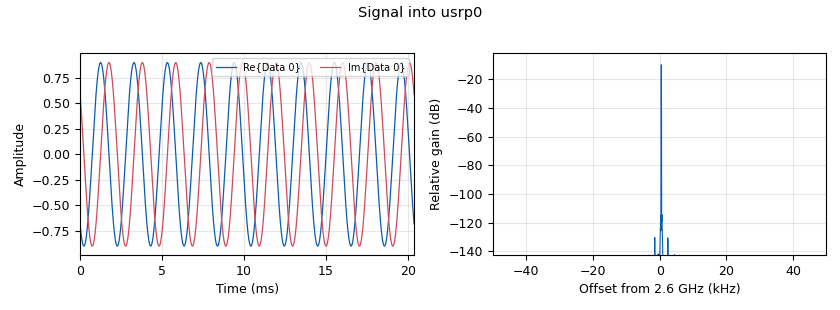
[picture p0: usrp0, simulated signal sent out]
<?xml version='1.0' encoding='utf-8'?>
<?grc format='1' created='3.7.14'?>
<flow_graph>
<block>
<key>options</key>
<param><key>id</key><value>top_block</value></param>
<param><key>author</key><value>OT</value></param>
<param><key>description</key><value>udoppler</value></param>
<param><key>generate_options</key><value>qt_gui</value></param>
<param><key>title</key><value>udoppler</value></param>
</block>
<block>
<key>variable</key>
<param><key>id</key><value>amplitude</value></param>
<param><key>value</key><value>0.9</value></param>
</block>
<block>
<key>variable</key>
<param><key>id</key><value>freq</value></param>
<param><key>value</key><value>2.6e9</value></param>
</block>
<block>
<key>variable_qtgui_range</key>
<param><key>id</key><value>gainRX</value></param>
<param><key>value</key><value>55</value></param>
<param><key>label</key><value>gainRX</value></param>
<param><key>orient</key><value>Qt.Horizontal</value></param>
<param><key>start</key><value>0</value></param>
<param><key>step</key><value>1</value></param>
<param><key>stop</key><value>70</value></param>
</block>
<block>
<key>variable_qtgui_range</key>
<param><key>id</key><value>gainTX</value></param>
<param><key>value</key><value>55</value></param>
<param><key>label</key><value>gainTX</value></param>
<param><key>orient</key><value>Qt.Horizontal</value></param>
<param><key>start</key><value>0</value></param>
<param><key>step</key><value>1</value></param>
<param><key>stop</key><value>70</value></param>
</block>
<block>
<key>variable</key>
<param><key>id</key><value>samp_rate</value></param>
<param><key>value</key><value>100e3</value></param>
</block>
<block>
<key>variable</key>
<param><key>id</key><value>usrpRX</value></param>
<param><key>value</key><value>"serial=30B0CED"</value></param>
</block>
<block>
<key>variable</key>
<param><key>id</key><value>usrpTX</value></param>
<param><key>value</key><value>"serial=30B0CED"</value></param>
</block>
<block>
<key>analog_sig_source_x</key>
<param><key>id</key><value>analog_sig_source_x_0</value></param>
<param><key>amp</key><value>amplitude</value></param>
<param><key>freq</key><value>1e6/2040</value></param>
<param><key>offset</key><value>0</value></param>
<param><key>type</key><value>complex</value></param>
<param><key>samp_rate</key><value>samp_rate</value></param>
<param><key>waveform</key><value>analog.GR_COS_WAVE</value></param>
</block>
<block>
<key>blocks_stream_to_vector</key>
<param><key>id</key><value>blocks_stream_to_vector_0</value></param>
<param><key>type</key><value>complex</value></param>
<param><key>num_items</key><value>2040</value></param>
</block>
<block>
<key>uhd_usrp_sink</key>
<param><key>id</key><value>usrp0</value></param>
<param><key>ant0</key><value>TX/RX</value></param>
<param><key>center_freq0</key><value>freq</value></param>
<param><key>norm_gain0</key><value>False</value></param>
<param><key>gain0</key><value>gainTX</value></param>
<param><key>clock_rate</key><value>0.0</value></param>
<param><key>dev_addr</key><value>usrpTX</value></param>
<param><key>dev_args</key><value>""</value></param>
<param><key>type</key><value>fc32</value></param>
<param><key>samp_rate</key><value>samp_rate</value></param>
<param><key>hide_cmd_port</key><value>True</value></param>
<param><key>hide_lo_controls</key><value>True</value></param>
<param><key>stream_chans</key><value>[0]</value></param>
<param><key>sync</key><value></value></param>
<param><key>len_tag_name</key><value></value></param>
</block>
<block>
<key>uhd_usrp_source</key>
<param><key>id</key><value>usrp1</value></param>
<param><key>ant0</key><value>RX2</value></param>
<param><key>center_freq0</key><value>freq</value></param>
<param><key>dc_offs_enb0</key><value>True</value></param>
<param><key>iq_imbal_enb0</key><value>True</value></param>
<param><key>norm_gain0</key><value>False</value></param>
<param><key>gain0</key><value>gainRX</value></param>
<param><key>clock_rate</key><value>0.0</value></param>
<param><key>dev_addr</key><value>usrpRX</value></param>
<param><key>dev_args</key><value>""</value></param>
<param><key>type</key><value>fc32</value></param>
<param><key>samp_rate</key><value>samp_rate</value></param>
<param><key>hide_cmd_port</key><value>True</value></param>
<param><key>hide_lo_controls</key><value>True</value></param>
<param><key>stream_chans</key><value>[0]</value></param>
<param><key>sync</key><value></value></param>
</block>
<block>
<key>zeromq_pub_sink</key>
<param><key>id</key><value>zeromq_pub_sink_0</value></param>
<param><key>address</key><value>tcp://127.0.0.1:5555</value></param>
<param><key>type</key><value>complex</value></param>
<param><key>timeout</key><value>100</value></param>
<param><key>vlen</key><value>2040</value></param>
</block>
<connection><source_block_id>analog_sig_source_x_0</source_block_id><sink_block_id>usrp0</sink_block_id><source_key>0</source_key><sink_key>0</sink_key></connection>
<connection><source_block_id>blocks_stream_to_vector_0</source_block_id><sink_block_id>zeromq_pub_sink_0</sink_block_id><source_key>0</source_key><sink_key>0</sink_key></connection>
<connection><source_block_id>usrp1</source_block_id><sink_block_id>blocks_stream_to_vector_0</sink_block_id><source_key>0</source_key><sink_key>0</sink_key></connection>
</flow_graph>
